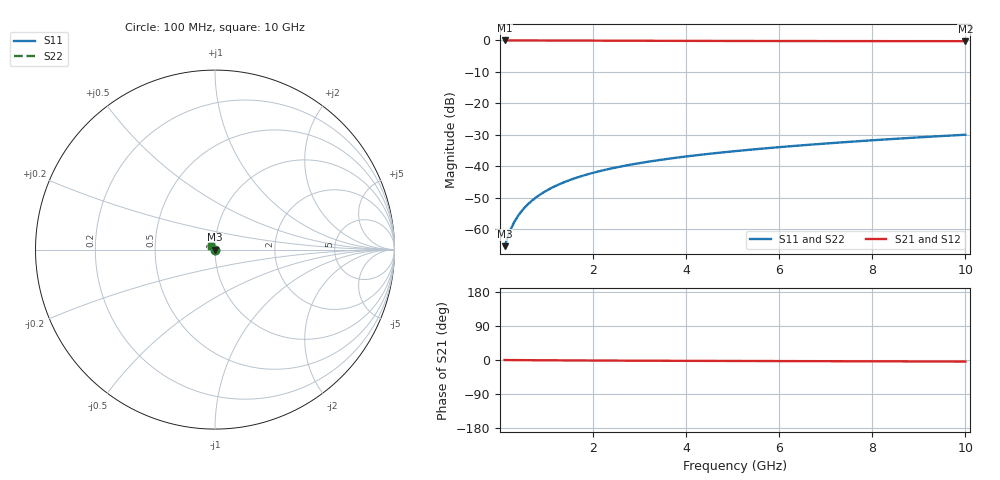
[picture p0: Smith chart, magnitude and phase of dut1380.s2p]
! Touchstone file exported from HFSS 2024.1.0
!  File:  C:/UserFiles/LocalFiles/RDL_TSV_Batchsim/temp_TSV1_1380_1780380146.aedt
!  Generated:  02:08:51 PM Jun  2, 2026
!  Design:  TSV1
!  Project:  temp_TSV1_1380_1780380146
!  Setup:  Setup1
!  Solution:  Sweep
! Variables:
!  dtsv = 5.64um
!  hbump = 3um
!  htsv = 54.67um
!  lrdl = 252.1521522um
!  p = 40
!  p1 = 54.54um
!  t = 500um
!  trdl = 3um
!  wrdl = 24.89489489um
# GHz S MA R 50.000000
! Terminal data exported
! Port[1] = TSV22_T1
! Port[2] = TSV22_T2
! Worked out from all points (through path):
!   100 points, 100 MHz to 10 GHz, reference 50 ohm
!   highest |S21| = 0.00 dB at 100 MHz (marker M1); lowest = -0.2 dB at 10 GHz (marker M2)
!   lowest |S11| = -65.4 dB at 100 MHz (marker M3), VSWR 1.00, Z = 50 - j0.0421 ohm
!   |S11| at or under -10 dB: start of sweep to end of sweep
!   |S22| runs from -65.4 to -30.0 dB; largest |S21 - S12| = 1e-15
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0.1  0.0005344 -52.0  0.9996 -0.1  0.9996 -0.1  0.0005344 -52.0
! Gamma 0 0 0 0
! Port Impedance 50 0 50 0
0.2  0.0008817 -72.6  0.9996 -0.2  0.9996 -0.2  0.0008817 -72.6
0.3  0.001268 -82.8  0.9994 -0.2  0.9994 -0.2  0.001268 -82.8
0.4  0.001669 -89.5  0.9993 -0.3  0.9993 -0.3  0.001669 -89.5
0.5  0.002074 -94.5  0.9991 -0.4  0.9991 -0.4  0.002074 -94.5
0.6  0.00248 -98.7  0.9989 -0.5  0.9989 -0.5  0.00248 -98.7
0.7  0.002885 -102.5  0.9986 -0.5  0.9986 -0.5  0.002885 -102.5
0.8  0.003288 -105.9  0.9983 -0.6  0.9983 -0.6  0.003288 -105.9
0.9  0.003689 -109.1  0.998 -0.7  0.998 -0.7  0.003689 -109.1
1.1  0.00448 -115.1  0.9973 -0.8  0.9973 -0.8  0.00448 -115.1
1.4  0.005638 -123.4  0.9961 -1.0  0.9961 -1.0  0.005638 -123.4
1.6  0.006389 -128.6  0.9952 -1.2  0.9952 -1.2  0.006389 -128.6
1.8  0.007123 -133.5  0.9943 -1.3  0.9943 -1.3  0.007123 -133.5
2.1  0.008192 -140.5  0.9928 -1.4  0.9928 -1.4  0.008192 -140.5
2.5  0.009561 -149.1  0.9909 -1.6  0.9909 -1.6  0.009561 -149.1
2.9  0.01087 -157.0  0.989 -1.8  0.989 -1.8  0.01087 -157.0
3.4  0.01245 -165.9  0.9868 -2.0  0.9868 -2.0  0.01245 -165.9
4.2  0.01486 -178.1  0.9838 -2.3  0.9838 -2.3  0.01486 -178.1
5.1  0.01749 170.5  0.981 -2.6  0.981 -2.6  0.01749 170.5
6.7  0.02208 155.1  0.9776 -3.1  0.9776 -3.1  0.02208 155.1
8.4  0.02698 143.3  0.9752 -3.6  0.9752 -3.6  0.02698 143.3
10  0.03166 135.0  0.9735 -4.1  0.9735 -4.1  0.03166 135.0
